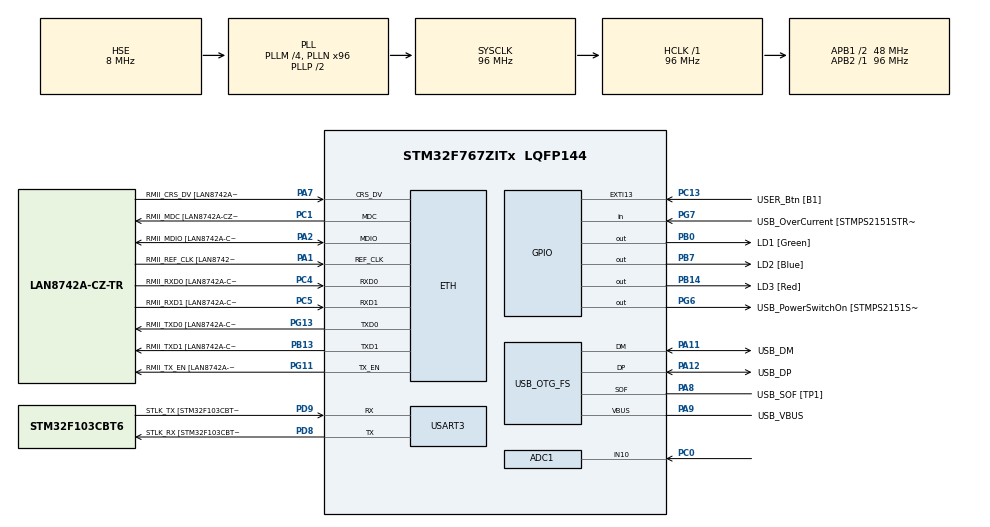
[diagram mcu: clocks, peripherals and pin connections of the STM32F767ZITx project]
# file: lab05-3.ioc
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ADC1.Channel-0\#ChannelRegularConversion=ADC_CHANNEL_10
ADC1.ContinuousConvMode=ENABLE
ADC1.EOCSelection=ADC_EOC_SEQ_CONV
ADC1.NbrOfConversionFlag=1
ADC1.Rank-0\#ChannelRegularConversion=1
ADC1.SamplingTime-0\#ChannelRegularConversion=ADC_SAMPLETIME_3CYCLES
ADC1.master=1
CORTEX_M7.default_mode_Activation=1
ETH.MediaInterface=HAL_ETH_RMII_MODE
ETH.PHY_Name=LAN8742A_PHY_ADDRESS
ETH.PHY_Value=0
ETH.PhyAddress=0
Mcu.Family=STM32F7
Mcu.Name=STM32F767ZITx
Mcu.Package=LQFP144
NVIC.PriorityGroup=NVIC_PRIORITYGROUP_4
PA1.GPIO_Label=RMII_REF_CLK [LAN8742A-CZ-TR_REFCLK0]
PA1.Mode=RMII
PA1.Signal=ETH_REF_CLK
PA10.GPIO_Label=USB_ID
PA10.Signal=USB_OTG_FS_ID
PA11.GPIO_Label=USB_DM
PA11.Mode=Device_Only
PA11.Signal=USB_OTG_FS_DM
PA12.GPIO_Label=USB_DP
PA12.Mode=Device_Only
PA12.Signal=USB_OTG_FS_DP
PA13.GPIO_Label=TMS
PA13.Mode=Serial_Wire
PA13.Signal=SYS_JTMS-SWDIO
PA14.GPIO_Label=TCK
PA14.Mode=Serial_Wire
PA14.Signal=SYS_JTCK-SWCLK
PA2.GPIO_Label=RMII_MDIO [LAN8742A-CZ-TR_MDIO]
PA2.Mode=RMII
PA2.Signal=ETH_MDIO
PA7.GPIO_Label=RMII_CRS_DV [LAN8742A-CZ-TR_CRS_DV]
PA7.Mode=RMII
PA7.Signal=ETH_CRS_DV
PA8.GPIO_Label=USB_SOF [TP1]
PA8.Mode=Activate_SOF_FS
PA8.Signal=USB_OTG_FS_SOF
PA9.GPIO_Label=USB_VBUS
PA9.Mode=Activate_VBUS
PA9.Signal=USB_OTG_FS_VBUS
PB0.GPIO_Label=LD1 [Green]
PB0.Signal=GPIO_Output
PB13.GPIO_Label=RMII_TXD1 [LAN8742A-CZ-TR_TXD1]
PB13.Mode=RMII
PB13.Signal=ETH_TXD1
PB14.GPIO_Label=LD3 [Red]
PB14.Signal=GPIO_Output
PB3.GPIO_Label=SWO
PB3.Signal=SYS_JTDO-SWO
PB7.GPIO_Label=LD2 [Blue]
PB7.Signal=GPIO_Output
PC0.Signal=ADCx_IN10
PC1.GPIO_Label=RMII_MDC [LAN8742A-CZ-TR_MDC]
PC1.Mode=RMII
PC1.Signal=ETH_MDC
PC13.GPIO_Label=USER_Btn [B1]
PC13.Signal=GPXTI13
PC14/OSC32_IN.Mode=LSE-External-Oscillator
PC14/OSC32_IN.Signal=RCC_OSC32_IN
PC15/OSC32_OUT.Mode=LSE-External-Oscillator
PC15/OSC32_OUT.Signal=RCC_OSC32_OUT
PC4.GPIO_Label=RMII_RXD0 [LAN8742A-CZ-TR_RXD0]
PC4.Mode=RMII
PC4.Signal=ETH_RXD0
PC5.GPIO_Label=RMII_RXD1 [LAN8742A-CZ-TR_RXD1]
PC5.Mode=RMII
PC5.Signal=ETH_RXD1
PD8.GPIO_Label=STLK_RX [STM32F103CBT6_PA3]
PD8.Mode=Asynchronous
PD8.Signal=USART3_TX
PD9.GPIO_Label=STLK_TX [STM32F103CBT6_PA2]
PD9.Mode=Asynchronous
PD9.Signal=USART3_RX
PG11.GPIO_Label=RMII_TX_EN [LAN8742A-CZ-TR_TXEN]
PG11.Mode=RMII
PG11.Signal=ETH_TX_EN
PG13.GPIO_Label=RMII_TXD0 [LAN8742A-CZ-TR_TXD0]
PG13.Mode=RMII
PG13.Signal=ETH_TXD0
PG6.GPIO_Label=USB_PowerSwitchOn [STMPS2151STR_EN]
PG6.Signal=GPIO_Output
PG7.GPIO_Label=USB_OverCurrent [STMPS2151STR_FAULT]
PG7.Signal=GPIO_Input
PH0/OSC_IN.GPIO_Label=MCO [STM32F103CBT6_PA8]
PH0/OSC_IN.Mode=HSE-External-Clock-Source
PH0/OSC_IN.Signal=RCC_OSC_IN
PH1/OSC_OUT.Mode=HSE-External-Clock-Source
PH1/OSC_OUT.Signal=RCC_OSC_OUT
ProjectManager.HeapSize=0x200
ProjectManager.StackSize=0x400
ProjectManager.TargetToolchain=STM32CubeIDE
RCC.48MHZClocksFreq_Value=24000000
RCC.AHBFreq_Value=96000000
RCC.APB1CLKDivider=RCC_HCLK_DIV2
RCC.APB1Freq_Value=48000000
RCC.APB1TimFreq_Value=96000000
RCC.APB2Freq_Value=96000000
RCC.APB2TimFreq_Value=96000000
RCC.CortexFreq_Value=96000000
RCC.HCLKFreq_Value=96000000
RCC.HSE_VALUE=8000000
RCC.HSI_VALUE=16000000
RCC.PLLM=4
RCC.PLLMUL=RCC_PLL_MUL9
RCC.PLLN=96
RCC.PLLQ=4
RCC.PRESCALERUSB=RCC_USBCLKSOURCE_PLL_DIV1_5
RCC.SYSCLKFreq_VALUE=96000000
RCC.SYSCLKSource=RCC_SYSCLKSOURCE_PLLCLK
RCC.SYSCLKSourceVirtual=RCC_SYSCLKSOURCE_PLLCLK
RCC.USBFreq_Value=48000000
RCC.VCOOutputFreq_Value=192000000
SH.ADCx_IN10.0=ADC1_IN10,IN10
USART3.VirtualMode-Asynchronous=VM_ASYNC
USB_OTG_FS.VirtualMode=Device_Only
board=NUCLEO-F767ZI

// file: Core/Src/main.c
/* USER CODE BEGIN Header */
/**
  ******************************************************************************
  * @file           : main.c
  * @brief          : Main program body
  ******************************************************************************
  * @attention
  *
  * Copyright (c) 2026 STMicroelectronics.
  * All rights reserved.
  *
  * This software is licensed under terms that can be found in the LICENSE file
  * in the root directory of this software component.
  * If no LICENSE file comes with this software, it is provided AS-IS.
  *
  ******************************************************************************
  */
/* USER CODE END Header */
#include "main.h"
#include "string.h"

/* USER CODE BEGIN Includes */
#include <stdio.h>
/* USER CODE END Includes */

#if defined ( __ICCARM__ ) /*!< IAR Compiler */
#pragma location=0x2007c000
ETH_DMADescTypeDef  DMARxDscrTab[ETH_RX_DESC_CNT]; /* Ethernet Rx DMA Descriptors */
#pragma location=0x2007c0a0
ETH_DMADescTypeDef  DMATxDscrTab[ETH_TX_DESC_CNT]; /* Ethernet Tx DMA Descriptors */

#elif defined ( __CC_ARM )  /* MDK ARM Compiler */

__attribute__((at(0x2007c000))) ETH_DMADescTypeDef  DMARxDscrTab[ETH_RX_DESC_CNT]; /* Ethernet Rx DMA Descriptors */
__attribute__((at(0x2007c0a0))) ETH_DMADescTypeDef  DMATxDscrTab[ETH_TX_DESC_CNT]; /* Ethernet Tx DMA Descriptors */

#elif defined ( __GNUC__ ) /* GNU Compiler */

ETH_DMADescTypeDef DMARxDscrTab[ETH_RX_DESC_CNT] __attribute__((section(".RxDecripSection"))); /* Ethernet Rx DMA Descriptors */
ETH_DMADescTypeDef DMATxDscrTab[ETH_TX_DESC_CNT] __attribute__((section(".TxDecripSection")));   /* Ethernet Tx DMA Descriptors */
#endif

ETH_TxPacketConfig TxConfig;

ADC_HandleTypeDef hadc1;

ETH_HandleTypeDef heth;

UART_HandleTypeDef huart3;

PCD_HandleTypeDef hpcd_USB_OTG_FS;

/* USER CODE BEGIN PV */
volatile uint32_t adc_val = 0;
int adc_avg_8 = 0;   /* result from average_8  */
int adc_avg_16 = 0;  /* result from average_16 */
/* USER CODE END PV */

void SystemClock_Config(void);
static void MPU_Config(void);
static void MX_GPIO_Init(void);
static void MX_ADC1_Init(void);
static void MX_ETH_Init(void);
static void MX_USART3_UART_Init(void);
static void MX_USB_OTG_FS_PCD_Init(void);
/* USER CODE BEGIN PFP */
void displayHEX(uint32_t);
/* USER CODE END PFP */

/* USER CODE BEGIN 0 */
/**
  * @brief  Moving average of the current and 7 previous values (Fig 6.3).
  */
int average_8(int x)
{
  static int samples[8];
  static int i = 0;
  static int total = 0;

  /* Update the moving average */
  total += x - samples[i];
  samples[i] = x;

  /* Update the index */
  i = (i == 7 ? 0 : i + 1);

  return total >> 3;
}

/**
  * @brief  Moving average of the current and 15 previous values (Fig 6.3).
  */
int average_16(int x)
{
  static int samples[16];
  static int i = 0;
  static int total = 0;

  /* Update the moving average */
  total += x - samples[i];
  samples[i] = x;

  /* Update the index */
  i = (i == 15 ? 0 : i + 1);

  return total >> 4;
}
/* USER CODE END 0 */

int main(void)
{

  /* MPU Configuration--------------------------------------------------------*/
  MPU_Config();

  /* MCU Configuration--------------------------------------------------------*/

  /* Reset of all peripherals, Initializes the Flash interface and the Systick. */
  HAL_Init();

  /* Configure the system clock */
  SystemClock_Config();

  /* Initialize all configured peripherals */
  MX_GPIO_Init();
  MX_ADC1_Init();
  MX_ETH_Init();
  MX_USART3_UART_Init();
  MX_USB_OTG_FS_PCD_Init();
  /* USER CODE BEGIN 2 */
  HAL_ADC_Start(&hadc1);
  /* USER CODE END 2 */

  /* Infinite loop */
  while (1)
  {

    /* USER CODE BEGIN 3 */
    if (HAL_ADC_PollForConversion(&hadc1, 100) == HAL_OK)
    {
      adc_val = HAL_ADC_GetValue(&hadc1);
      adc_avg_8  = average_8((int)adc_val);
      adc_avg_16 = average_16((int)adc_val);

      /* raw,avg8,avg16  ->  plot in STM32CubeMonitor (Fig 6.2) */
      char buf[40];
      int n = sprintf(buf, "%lu,%lu,%lu\r\n",
                      (unsigned long)adc_val,
                      (unsigned long)adc_avg_8,
                      (unsigned long)adc_avg_16);
      HAL_UART_Transmit(&huart3, (uint8_t *)buf, (uint16_t)n, 100);
    }
    HAL_Delay(100);
  }
  /* USER CODE END 3 */
}

void SystemClock_Config(void)
{
  RCC_OscInitTypeDef RCC_OscInitStruct = {0};
  RCC_ClkInitTypeDef RCC_ClkInitStruct = {0};

  /** Configure LSE Drive Capability
  */
  HAL_PWR_EnableBkUpAccess();

  /** Configure the main internal regulator output voltage
  */
  __HAL_RCC_PWR_CLK_ENABLE();
  __HAL_PWR_VOLTAGESCALING_CONFIG(PWR_REGULATOR_VOLTAGE_SCALE3);

  /** Initializes the RCC Oscillators according to the specified parameters
  * in the RCC_OscInitTypeDef structure.
  */
  RCC_OscInitStruct.OscillatorType = RCC_OSCILLATORTYPE_HSE;
  RCC_OscInitStruct.HSEState = RCC_HSE_BYPASS;
  RCC_OscInitStruct.PLL.PLLState = RCC_PLL_ON;
  RCC_OscInitStruct.PLL.PLLSource = RCC_PLLSOURCE_HSE;
  RCC_OscInitStruct.PLL.PLLM = 4;
  RCC_OscInitStruct.PLL.PLLN = 96;
  RCC_OscInitStruct.PLL.PLLP = RCC_PLLP_DIV2;
  RCC_OscInitStruct.PLL.PLLQ = 4;
  RCC_OscInitStruct.PLL.PLLR = 2;
  if (HAL_RCC_OscConfig(&RCC_OscInitStruct) != HAL_OK)
  {
    Error_Handler();
  }

  /** Activate the Over-Drive mode
  */
  if (HAL_PWREx_EnableOverDrive() != HAL_OK)
  {
    Error_Handler();
  }

  /** Initializes the CPU, AHB and APB buses clocks
  */
  RCC_ClkInitStruct.ClockType = RCC_CLOCKTYPE_HCLK|RCC_CLOCKTYPE_SYSCLK
                              |RCC_CLOCKTYPE_PCLK1|RCC_CLOCKTYPE_PCLK2;
  RCC_ClkInitStruct.SYSCLKSource = RCC_SYSCLKSOURCE_PLLCLK;
  RCC_ClkInitStruct.AHBCLKDivider = RCC_SYSCLK_DIV1;
  RCC_ClkInitStruct.APB1CLKDivider = RCC_HCLK_DIV2;
  RCC_ClkInitStruct.APB2CLKDivider = RCC_HCLK_DIV1;

  if (HAL_RCC_ClockConfig(&RCC_ClkInitStruct, FLASH_LATENCY_3) != HAL_OK)
  {
    Error_Handler();
  }
}

static void MX_ADC1_Init(void)
{

  ADC_ChannelConfTypeDef sConfig = {0};

  /** Configure the global features of the ADC (Clock, Resolution, Data Alignment and number of conversion)
  */
  hadc1.Instance = ADC1;
  hadc1.Init.ClockPrescaler = ADC_CLOCK_SYNC_PCLK_DIV4;
  hadc1.Init.Resolution = ADC_RESOLUTION_12B;
  hadc1.Init.ScanConvMode = ADC_SCAN_DISABLE;
  hadc1.Init.ContinuousConvMode = ENABLE;
  hadc1.Init.DiscontinuousConvMode = DISABLE;
  hadc1.Init.ExternalTrigConvEdge = ADC_EXTERNALTRIGCONVEDGE_NONE;
  hadc1.Init.ExternalTrigConv = ADC_SOFTWARE_START;
  hadc1.Init.DataAlign = ADC_DATAALIGN_RIGHT;
  hadc1.Init.NbrOfConversion = 1;
  hadc1.Init.DMAContinuousRequests = DISABLE;
  hadc1.Init.EOCSelection = ADC_EOC_SEQ_CONV;
  if (HAL_ADC_Init(&hadc1) != HAL_OK)
  {
    Error_Handler();
  }

  /** Configure for the selected ADC regular channel its corresponding rank in the sequencer and its sample time.
  */
  sConfig.Channel = ADC_CHANNEL_10;
  sConfig.Rank = ADC_REGULAR_RANK_1;
  sConfig.SamplingTime = ADC_SAMPLETIME_3CYCLES;
  if (HAL_ADC_ConfigChannel(&hadc1, &sConfig) != HAL_OK)
  {
    Error_Handler();
  }

}

static void MX_ETH_Init(void)
{

   static uint8_t MACAddr[6];

  heth.Instance = ETH;
  MACAddr[0] = 0x00;
  MACAddr[1] = 0x80;
  MACAddr[2] = 0xE1;
  MACAddr[3] = 0x00;
  MACAddr[4] = 0x00;
  MACAddr[5] = 0x00;
  heth.Init.MACAddr = &MACAddr[0];
  heth.Init.MediaInterface = HAL_ETH_RMII_MODE;
  heth.Init.TxDesc = DMATxDscrTab;
  heth.Init.RxDesc = DMARxDscrTab;
  heth.Init.RxBuffLen = 1524;

  if (HAL_ETH_Init(&heth) != HAL_OK)
  {
    Error_Handler();
  }

  memset(&TxConfig, 0 , sizeof(ETH_TxPacketConfig));
  TxConfig.Attributes = ETH_TX_PACKETS_FEATURES_CSUM | ETH_TX_PACKETS_FEATURES_CRCPAD;
  TxConfig.ChecksumCtrl = ETH_CHECKSUM_IPHDR_PAYLOAD_INSERT_PHDR_CALC;
  TxConfig.CRCPadCtrl = ETH_CRC_PAD_INSERT;

}

static void MX_USART3_UART_Init(void)
{

  huart3.Instance = USART3;
  huart3.Init.BaudRate = 115200;
  huart3.Init.WordLength = UART_WORDLENGTH_8B;
  huart3.Init.StopBits = UART_STOPBITS_1;
  huart3.Init.Parity = UART_PARITY_NONE;
  huart3.Init.Mode = UART_MODE_TX_RX;
  huart3.Init.HwFlowCtl = UART_HWCONTROL_NONE;
  huart3.Init.OverSampling = UART_OVERSAMPLING_16;
  huart3.Init.OneBitSampling = UART_ONE_BIT_SAMPLE_DISABLE;
  huart3.AdvancedInit.AdvFeatureInit = UART_ADVFEATURE_NO_INIT;
  if (HAL_UART_Init(&huart3) != HAL_OK)
  {
    Error_Handler();
  }

}

static void MX_USB_OTG_FS_PCD_Init(void)
{

  hpcd_USB_OTG_FS.Instance = USB_OTG_FS;
  hpcd_USB_OTG_FS.Init.dev_endpoints = 6;
  hpcd_USB_OTG_FS.Init.speed = PCD_SPEED_FULL;
  hpcd_USB_OTG_FS.Init.dma_enable = DISABLE;
  hpcd_USB_OTG_FS.Init.phy_itface = PCD_PHY_EMBEDDED;
  hpcd_USB_OTG_FS.Init.Sof_enable = ENABLE;
  hpcd_USB_OTG_FS.Init.low_power_enable = DISABLE;
  hpcd_USB_OTG_FS.Init.lpm_enable = DISABLE;
  hpcd_USB_OTG_FS.Init.vbus_sensing_enable = ENABLE;
  hpcd_USB_OTG_FS.Init.use_dedicated_ep1 = DISABLE;
  if (HAL_PCD_Init(&hpcd_USB_OTG_FS) != HAL_OK)
  {
    Error_Handler();
  }

}

static void MX_GPIO_Init(void)
{
  GPIO_InitTypeDef GPIO_InitStruct = {0};

  /* GPIO Ports Clock Enable */
  __HAL_RCC_GPIOC_CLK_ENABLE();
  __HAL_RCC_GPIOH_CLK_ENABLE();
  __HAL_RCC_GPIOA_CLK_ENABLE();
  __HAL_RCC_GPIOB_CLK_ENABLE();
  __HAL_RCC_GPIOD_CLK_ENABLE();
  __HAL_RCC_GPIOG_CLK_ENABLE();

  /*Configure GPIO pin Output Level */
  HAL_GPIO_WritePin(GPIOB, LD1_Pin|LD3_Pin|LD2_Pin, GPIO_PIN_RESET);

  /*Configure GPIO pin Output Level */
  HAL_GPIO_WritePin(USB_PowerSwitchOn_GPIO_Port, USB_PowerSwitchOn_Pin, GPIO_PIN_RESET);

  /*Configure GPIO pin : USER_Btn_Pin */
  GPIO_InitStruct.Pin = USER_Btn_Pin;
  GPIO_InitStruct.Mode = GPIO_MODE_IT_RISING;
  GPIO_InitStruct.Pull = GPIO_NOPULL;
  HAL_GPIO_Init(USER_Btn_GPIO_Port, &GPIO_InitStruct);

  /*Configure GPIO pins : LD1_Pin LD3_Pin LD2_Pin */
  GPIO_InitStruct.Pin = LD1_Pin|LD3_Pin|LD2_Pin;
  GPIO_InitStruct.Mode = GPIO_MODE_OUTPUT_PP;
  GPIO_InitStruct.Pull = GPIO_NOPULL;
  GPIO_InitStruct.Speed = GPIO_SPEED_FREQ_LOW;
  HAL_GPIO_Init(GPIOB, &GPIO_InitStruct);

  /*Configure GPIO pin : USB_PowerSwitchOn_Pin */
  GPIO_InitStruct.Pin = USB_PowerSwitchOn_Pin;
  GPIO_InitStruct.Mode = GPIO_MODE_OUTPUT_PP;
  GPIO_InitStruct.Pull = GPIO_NOPULL;
  GPIO_InitStruct.Speed = GPIO_SPEED_FREQ_LOW;
  HAL_GPIO_Init(USB_PowerSwitchOn_GPIO_Port, &GPIO_InitStruct);

  /*Configure GPIO pin : USB_OverCurrent_Pin */
  GPIO_InitStruct.Pin = USB_OverCurrent_Pin;
  GPIO_InitStruct.Mode = GPIO_MODE_INPUT;
  GPIO_InitStruct.Pull = GPIO_NOPULL;
  HAL_GPIO_Init(USB_OverCurrent_GPIO_Port, &GPIO_InitStruct);

}

/* USER CODE BEGIN 4 */
/**
  * @brief  Display a 32-bit value as 8-digit hex, with the ADC channel and
  *         the equivalent input voltage (2 decimal places) over UART3.
  *         Example: ADC1_CH10 0x000001F5 Vin = 0.40 V
  */
void displayHEX(uint32_t val)
{
  char buf[64];
  uint32_t v_mV = val * 3300UL / 4095UL;  /* 12-bit ADC, VREF+ = 3.3 V */

  sprintf(buf, "ADC1_CH10 0x%08lX Vin = %lu.%02lu V\r\n",
          (unsigned long)val,
          (unsigned long)(v_mV / 1000),
          (unsigned long)(((v_mV % 1000) + 5) / 10));
  HAL_UART_Transmit(&huart3, (uint8_t *)buf, strlen(buf), 100);
}
/* USER CODE END 4 */

 /* MPU Configuration */

void MPU_Config(void)
{
  MPU_Region_InitTypeDef MPU_InitStruct = {0};

  /* Disables the MPU */
  HAL_MPU_Disable();

  /** Initializes and configures the Region and the memory to be protected
  */
  MPU_InitStruct.Enable = MPU_REGION_ENABLE;
  MPU_InitStruct.Number = MPU_REGION_NUMBER0;
  MPU_InitStruct.BaseAddress = 0x0;
  MPU_InitStruct.Size = MPU_REGION_SIZE_4GB;
  MPU_InitStruct.SubRegionDisable = 0x87;
  MPU_InitStruct.TypeExtField = MPU_TEX_LEVEL0;
  MPU_InitStruct.AccessPermission = MPU_REGION_NO_ACCESS;
  MPU_InitStruct.DisableExec = MPU_INSTRUCTION_ACCESS_DISABLE;
  MPU_InitStruct.IsShareable = MPU_ACCESS_SHAREABLE;
  MPU_InitStruct.IsCacheable = MPU_ACCESS_NOT_CACHEABLE;
  MPU_InitStruct.IsBufferable = MPU_ACCESS_NOT_BUFFERABLE;

  HAL_MPU_ConfigRegion(&MPU_InitStruct);
  /* Enables the MPU */
  HAL_MPU_Enable(MPU_PRIVILEGED_DEFAULT);

}

void Error_Handler(void)
{
  __disable_irq();
  while (1)
  {
  }
}
